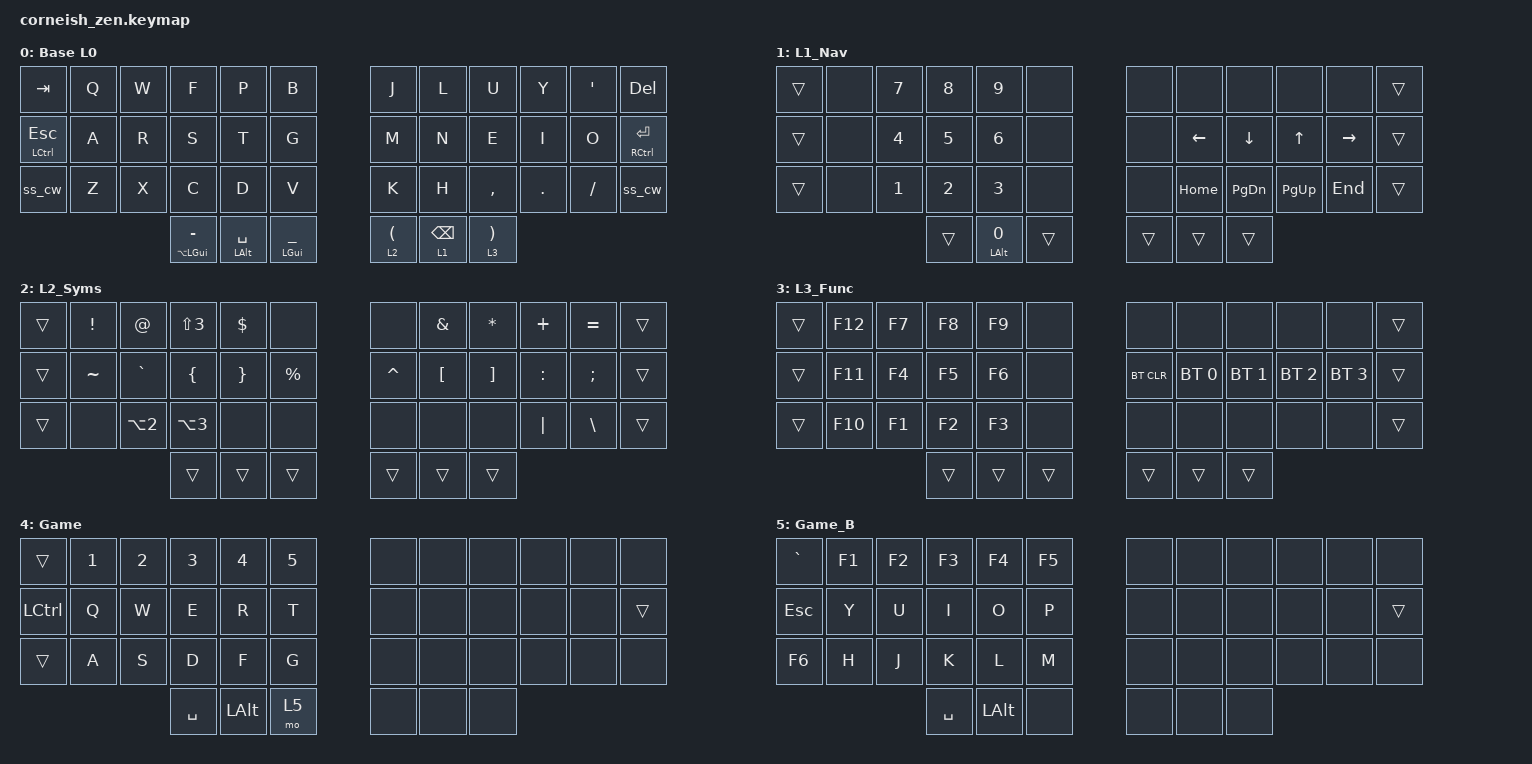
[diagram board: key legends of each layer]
#include <behaviors.dtsi>
#include <dt-bindings/zmk/keys.h>
#include <dt-bindings/zmk/bt.h>

/ {
  chosen {
    zmk,matrix_transform = &default_transform;
//  zmk,matrix_transform = &five_column_transform;
  };
};

// for readability
#define L0 0
#define L1 1
#define L2 2
#define L3 3
#define L4 4
#define L5 5

// to experiment with quick tap hold speeds
#define QUICK_TAP_MS 175

// * COMBOS *
/ {
        combos {
                compatible = "zmk,combos";

// * CAPSLOCK *
// pressing both shift keys
                combo_caps{
                        timeout-ms = <100>;
                        key-positions = <24 35>;
                        bindings = <&kp CAPS>;
                };

// * SPOTLIGHT SEARCH *
// RSHIFT+/ is CMD+SPACE to spotlight search on Mac
                combo_spotlight{
                        timeout-ms = <100>;
                        key-positions = <34 35>;
                        bindings = <&kp LG(SPACE)>;
                };

// * GAMING LAYER *
// ENTER+TAB  to toggle on/off
                combo_gaming_a{
                        timeout-ms = <100>;
                        key-positions = <0 5>;
                        bindings = <&tog L4>;
                };

// * REPEAT KEYS *
// left index finger combo
                combo_repeat_key_l{
                        timeout-ms = <100>;
                        key-positions = <16 17>;
                        bindings = <&key_repeat>;
                };

// right index finger combo
                combo_repeat_key_r{
                        timeout-ms = <100>;
                        key-positions = <18 19>;
                        bindings = <&key_repeat>;
                };

// * HYPER MOD KEYS *
// left index finger combo
                combo_hyper_l{
                        timeout-ms = <100>;
                        key-positions = <28 29>;
                        bindings = <&kp LS(LC(LA(LGUI)))>;
                };

// right index finger combo
                combo_hyper_r{
                        timeout-ms = <100>;
                        key-positions = <30 31>;
                        bindings = <&kp LS(LC(LA(LGUI)))>;
                };
        };
};

// * BEHAVIOURS *
/ {
	behaviors {

// // * STICKY SHIFT & CAPS-WORD *
// // tweaking sticky key behaviour
//		sk: behavior_sticky_key {
//                        compatible = "zmk,behavior-sticky-key";
//                        label = "STICKY_KEY";
//                        #binding-cells = <1>;
//                        release-after-ms = <2000>;
//                        bindings = <&kp>;
//                        ignore-modifiers;
//                        quick-release;
//                };

		caps_word: behavior_caps_word {
			compatible = "zmk,behavior-caps-word";
			label = "CAPS_WORD";
			#binding-cells = <0>;
			continue-list = <UNDERSCORE MINUS BACKSPACE DELETE>;
		};

// // sticky shift with double tap to activate caps_word
//                ss_cw: behavior_sticky_shift_caps_word {
//                        compatible = "zmk,behavior-tap-dance";
//                        label = "STICKY_SHIFT_CAPS_WORD";
//                        #binding-cells = <0>;
//                        tapping-term-ms = <300>;
//                        bindings = <&sk LSHFT>, <&caps_word>;
//                };

// * DOUBLE TAP TO HOLD KEY *
// Adding quick-tap-ms to both mod-tap and layer-tap so you can tap then hold.
// mod-tap config
                mt: behavior_mod_tap {
                        compatible = "zmk,behavior-hold-tap";
                        label = "MOD_TAP";
                        #binding-cells = <2>;
                        flavor = "balanced";
                        tapping-term-ms = <200>;
                        quick-tap-ms = <QUICK_TAP_MS>;
                        bindings = <&kp>, <&kp>;
                };

// layer-tap config
                lt: behavior_layer_tap {
                        compatible = "zmk,behavior-hold-tap";
                        label = "LAYER_TAP";
                        #binding-cells = <2>;
                        flavor = "balanced";
                        tapping-term-ms = <200>;
                        quick-tap-ms = <QUICK_TAP_MS>;
                        bindings = <&mo>, <&kp>;
                };

// // * NUM WORD LAYER *
//                 num_word: behavior_num_word {
//                         compatible = "zmk,behavior-caps-word";
//                         label = "NUM_WORD";
//                         #binding-cells = <0>;
//                         layers = <L1>;                                // insert location of numbers layer here
//                         continue-list = <BACKSPACE DELETE DOT COMMA>;  // adjust as desired
//                         ignore-numbers;                                // numbers don't deactivate the layer
//                 };

// //  * GLOBAL QUICK TAP *
// // a hold-tap key uses quick tap regardless of what key was pressed before it
//                 gqt: global_quick_tap {
//                         compatible = "zmk,behavior-hold-tap";
//                         label = "GLOBAL_QUICK_TAP";
//                         #binding-cells = <2>;
//                         flavor = "balanced";
//                         tapping-term-ms = <200>;
//                         quick-tap-ms = <QUICK_TAP_MS>;
//                         global-quick-tap;
//                         bindings = <&kp>, <&kp>;
//                 };
        };
};

// * LAYER KEYMAPS *
/ {
        keymap {
                compatible = "zmk,keymap";

// -------------------------------------------------------------------------------------------------------------------------------------------------------------------
                layer_0_base {
// -------------------------------------------------------------------------------------------------------------------------------------------------------------------

//                         +-----------+-------+-------+-------+-------+-------+            +-------+-------+-------+-------+-------+-----------+
//                         | TAB       |   Q   |   W   |   F   |   P   |   B   |            |   J   |   L   |   U   |   Y   |   '   | DEL       |
//                         +-----------+-------+-------+-------+-------+-------+            +-------+-------+-------+-------+-------+-----------+
//                         | ESC/CTRL  |   A   |   R   |   S   |   T   |   G   |            |   M   |   N   |   E   |   I   |   O   | ENT/CTRL  |
//                         +-----------+-------+-------+-------+-------+-------+            +-------+-------+-------+-------+-------+-----------+
//                         | SHFT/CAPS |   Z   |   X   |   C   |   D   |   V   |            |   K   |   H   |   ,   |   .   |   /   | SHFT/CAPS |
//                         +-----------+-------+-------+-------+-------+-------+            +-------+-------+-------+-------+-------+-----------+
//                                                     | -/A+C | SP/ALT| _/CMD |            |  (/L2 | BS/L1 | )/L3  |
//                                                     +-------+-------+-------+            +-------+-------+-------+

                        label = " Base L0 ";
                        bindings = <

 &kp TAB        &kp Q  &kp W  &kp F               &kp P           &kp B                     &kp J        &kp L        &kp U           &kp Y    &kp APOS  &kp DEL
 &mt LCTRL ESC  &kp A  &kp R  &kp S               &kp T           &kp G                     &kp M        &kp N        &kp E           &kp I    &kp O     &mt RCTRL RET
//  &sk LSHFT      &kp Z  &kp X  &kp C               &kp D           &kp V                     &kp K        &kp H        &kp COMMA       &kp DOT  &kp FSLH  &sk RSHFT
 &ss_cw         &kp Z  &kp X  &kp C               &kp D           &kp V                     &kp K        &kp H        &kp COMMA       &kp DOT  &kp FSLH  &ss_cw
                              &mt LA(LGUI) MINUS  &mt LALT SPACE  &mt LGUI UNDER            &lt L2 LPAR  &lt L1 BSPC  &lt L3 RPAR

                        >;
                };

// -------------------------------------------------------------------------------------------------------------------------------------------------------------------
                layer_1_num_nav {
// -------------------------------------------------------------------------------------------------------------------------------------------------------------------

//                         +-----------+-------+-------+-------+-------+-------+            +-------+-------+-------+-------+-------+-----------+
//                         | TAB       |       |   7   |   8   |   9   |       |            |       |       |       |       |       | DEL       |
//                         +-----------+-------+-------+-------+-------+-------+            +-------+-------+-------+-------+-------+-----------+
//                         | ESC/CTRL  |       |   4   |   5   |   6   |       |            |       |  LFT  |  DWN  |  UP   |  RGT  | ENT/CTRL  |
//                         +-----------+-------+-------+-------+-------+-------+            +-------+-------+-------+-------+-------+-----------+
//                         | SHFT/CAPS |       |   1   |   2   |   3   |       |            |       | HOME  | PG_DN | PG_UP |  END  | SHFT/CAPS |
//                         +-----------+-------+-------+-------+-------+-------+            +-------+-------+-------+-------+-------+-----------+
//                                                     | -/A+C | 0/ALT | _/CMD |            |  (/L2 | BS/L1 | )/L3  |
//                                                     +-------+-------+-------+            +-------+-------+-------+

                        label = " L1_Nav ";
                        bindings = <

                              &trans  &none  &kp N7  &kp N8  &kp N9       &none             &none   &none     &none      &none      &none      &trans
                              &trans  &none  &kp N4  &kp N5  &kp N6       &none             &none   &kp LEFT  &kp DOWN   &kp UP     &kp RIGHT  &trans
                              &trans  &none  &kp N1  &kp N2  &kp N3       &none             &none   &kp HOME  &kp PG_DN  &kp PG_UP  &kp END    &trans
                                                     &trans  &mt LALT N0  &trans            &trans  &trans    &trans

                        >;
                };

// -------------------------------------------------------------------------------------------------------------------------------------------------------------------
                layer_2_syms {
// -------------------------------------------------------------------------------------------------------------------------------------------------------------------

//                         +-----------+-------+-------+-------+-------+-------+            +-------+-------+-------+-------+-------+-----------+
//                         | TAB       |   !   |   @   |   £   |   $   |       |            |       |   &   |   *   |   +   |   =   | DEL       |
//                         +-----------+-------+-------+-------+-------+-------+            +-------+-------+-------+-------+-------+-----------+
//                         | ESC/CTRL  |   ~   |   `   |   {   |   }   |   %   |            |   ^   |   [   |   ]   |   :   |   ;   | ENT/CTRL  |
//                         +-----------+-------+-------+-------+-------+-------+            +-------+-------+-------+-------+-------+-----------+
//                         | SHFT/CAPS |       |   €   |   #   |       |       |            |       |       |       |  "|"  |   \   | SHFT/CAPS |
//                         +-----------+-------+-------+-------+-------+-------+            +-------+-------+-------+-------+-------+-----------+
//                                                     | -/A+C | 0/ALT | _/CMD |            |  (/L2 | BS/L1 | )/L3  |
//                                                     +-------+-------+-------+            +-------+-------+-------+

                        label = " L2_Syms ";
                        bindings = <

                  &trans  &kp EXCL   &kp AT      &kp LS(N3)  &kp DLLR  &none                &none      &kp AMPS  &kp ASTRK  &kp PLUS   &kp EQUAL  &trans
                  &trans  &kp TILDE  &kp GRAVE   &kp LBRC    &kp RBRC  &kp PRCNT            &kp CARET  &kp LBKT  &kp RBKT   &kp COLON  &kp SEMI   &trans
                  &trans  &none      &kp LA(N2)  &kp LA(N3)  &none     &none                &none      &none     &none      &kp PIPE   &kp BSLH   &trans
                                                 &trans      &trans    &trans               &trans     &trans    &trans

                        >;
                };

// -------------------------------------------------------------------------------------------------------------------------------------------------------------------
                layer_3_func {
// -------------------------------------------------------------------------------------------------------------------------------------------------------------------

//                         +-----------+-------+-------+-------+-------+-------+            +-------+-------+-------+-------+-------+-----------+
//                         | TAB       |  F12  |  F7   |  F8   |  F9   |       |            |       |       |       |       |       | DEL       |
//                         +-----------+-------+-------+-------+-------+-------+            +-------+-------+-------+-------+-------+-----------+
//                         | ESC/CTRL  |  F11  |  F4   |  F5   |  F6   |       |            |  BC   |  B0   |  B1   |  B2   |  B3   | ENT/CTRL  |
//                         +-----------+-------+-------+-------+-------+-------+            +-------+-------+-------+-------+-------+-----------+
//                         | SHFT/CAPS |  F10  |  F1   |  F2   |  F3   |       |            |       |       |       |       |       | SHFT/CAPS |
//                         +-----------+-------+-------+-------+-------+-------+            +-------+-------+-------+-------+-------+-----------+
//                                                     | -/A+C | 0/ALT | _/CMD |            |  (/L2 | BS/L1 | )/L3  |
//                                                     +-------+-------+-------+            +-------+-------+-------+

                        label = " L3_Func ";
                        bindings = <

                                 &trans  &kp F12  &kp F7  &kp F8  &kp F9  &none             &none       &none         &none         &none         &none         &trans
                                 &trans  &kp F11  &kp F4  &kp F5  &kp F6  &none             &bt BT_CLR  &bt BT_SEL 0  &bt BT_SEL 1  &bt BT_SEL 2  &bt BT_SEL 3  &trans
                                 &trans  &kp F10  &kp F1  &kp F2  &kp F3  &none             &none       &none         &none         &none         &none         &trans
                                                          &trans  &trans  &trans            &trans      &trans        &trans

                        >;
                };

// -------------------------------------------------------------------------------------------------------------------------------------------------------------------
                layer_4_game_a {
// -------------------------------------------------------------------------------------------------------------------------------------------------------------------

//                         +-----------+-------+-------+-------+-------+-------+            +-------+-------+-------+-------+-------+-----------+
//                         | TAB       |   1   |   2   |   3   |   4   |   5   |            |       |       |       |       |       |           |
//                         +-----------+-------+-------+-------+-------+-------+            +-------+-------+-------+-------+-------+-----------+
//                         | CTRL      |   Q   |   W   |   E   |   R   |   T   |            |       |       |       |       |       |   L0/L4   |
//                         +-----------+-------+-------+-------+-------+-------+            +-------+-------+-------+-------+-------+-----------+
//                         | SHFT      |   A   |   S   |   D   |   F   |   G   |            |       |       |       |       |       |           |
//                         +-----------+-------+-------+-------+-------+-------+            +-------+-------+-------+-------+-------+-----------+
//                                                     | SPACE |  ALT  |  L5   |            | L0/L4 |       |       |
//                                                     +-------+-------+-------+            +-------+-------+-------+

//                                                                                                                          Side Mouse Buttons
//                                                                                                                          +-------+-------+-------+
//                                                                                                                          |   Z   |   X   |   C   |
//                                                                                                                          +-------+-------+-------+
//                                                                                                                          |   V   |   B   |   N   |
//                                                                                                                          +-------+-------+-------+

//                                                                                                                          Mouse Button Behind Wheel
//                                                                                                                          +-------+
//                                                                                                                          |       |
//                                                                                                                          +-------+

                        label = " Game ";
                        bindings = <

                          &trans     &kp N1  &kp N2  &kp N3     &kp N4    &kp N5            &none  &none  &none  &none  &none  &none
                          &kp LCTRL  &kp Q   &kp W   &kp E      &kp R     &kp T             &none  &none  &none  &none  &none  &trans
                          &trans     &kp A   &kp S   &kp D      &kp F     &kp G             &none  &none  &none  &none  &none  &none
                                                     &kp SPACE  &kp LALT  &mo L5            &none  &none  &none

                        >;
                };

// -------------------------------------------------------------------------------------------------------------------------------------------------------------------
                layer_5_game_b {
// -------------------------------------------------------------------------------------------------------------------------------------------------------------------

//                         +-----------+-------+-------+-------+-------+-------+            +-------+-------+-------+-------+-------+-----------+
//                         |     `     |  F1   |  F2   |  F3   |  F4   |  F5   |            |       |       |       |       |       |           |
//                         +-----------+-------+-------+-------+-------+-------+            +-------+-------+-------+-------+-------+-----------+
//                         |    ESC    |   Y   |   U   |   I   |   O   |   P   |            |       |       |       |       |       |           |
//                         +-----------+-------+-------+-------+-------+-------+            +-------+-------+-------+-------+-------+-----------+
//                         |    F6     |   H   |   J   |   K   |   L   |   M   |            |       |       |       |       |       |           |
//                         +-----------+-------+-------+-------+-------+-------+            +-------+-------+-------+-------+-------+-----------+
//                                                     |       |       | HELD  |            |       |       |       |
//                                                     +-------+-------+-------+            +-------+-------+-------+

                        label = " Game_B ";
                        bindings = <

                         &kp GRAVE  &kp F1   &kp F2  &kp F3     &kp F4    &kp F5            &none  &none  &none  &none  &none  &none
                         &kp ESC    &kp Y    &kp U   &kp I      &kp O     &kp P             &none  &none  &none  &none  &none  &trans
                         &kp F6     &kp H    &kp J   &kp K      &kp L     &kp M             &none  &none  &none  &none  &none  &none
                                                     &kp SPACE  &kp LALT  &none             &none  &none  &none
                        >;
                };
        };
};
